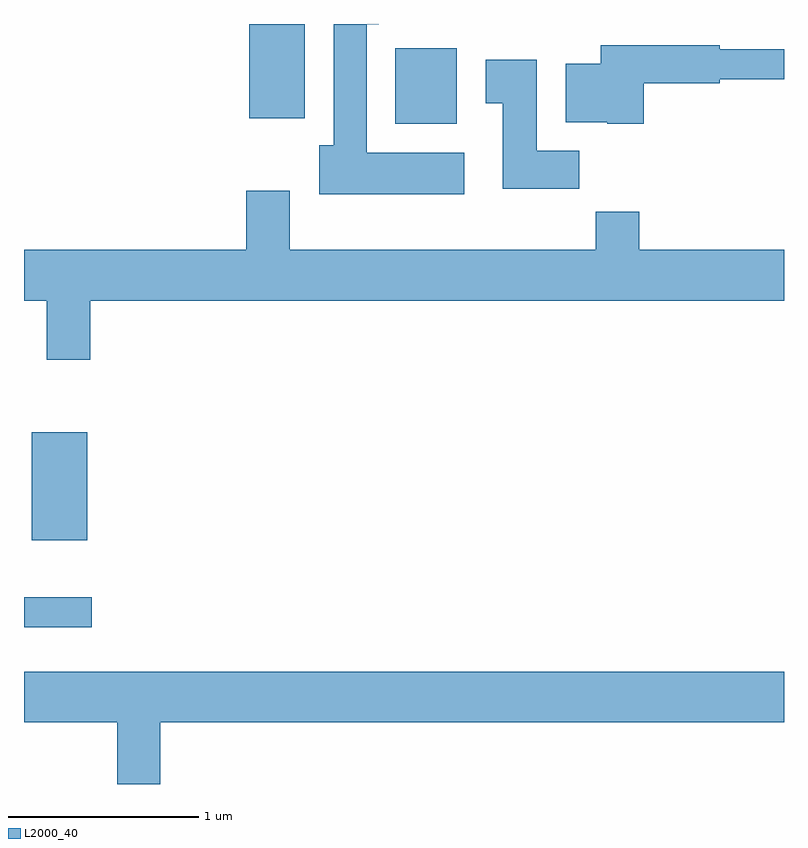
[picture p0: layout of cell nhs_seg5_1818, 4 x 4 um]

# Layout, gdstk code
import gdstk
lib = gdstk.Library(unit=1e-6, precision=1e-09)
def R(c, l, rs):  # rectangles x0, y0, x1, y1
    for r in rs: c.add(gdstk.rectangle(r[:2], r[2:], *l))
def P(c, l, *ps):  # polygons
    for p in ps: c.add(gdstk.Polygon(p, *l))
L2000_40 = (2000, 40)

nhs_seg5_1818 = lib.new_cell('nhs_seg5_1818')
R(nhs_seg5_1818, L2000_40, [(239.611,1412.896,239.968,1413.054), (239.651,1413.356,239.944,1413.924), (241.566,1415.546,241.889,1415.944), (240.796,1415.576,241.089,1416.072)])
P(nhs_seg5_1818, L2000_40, [(241.929,1415.394),(241.414,1415.394),(241.414,1416.071),(241.478,1416.071),(241.478,1416.072),(241.241,1416.072),(241.241,1415.434),(241.166,1415.434),(241.166,1415.176),(241.929,1415.176)],
  [(242.874,1415.761),(243.274,1415.761),(243.274,1415.781),(243.611,1415.781),(243.611,1415.939),(243.274,1415.939),(243.274,1415.959),(242.646,1415.959),(242.646,1415.864),(242.461,1415.864),(242.461,1415.556),(242.68,1415.556),(242.68,1415.546),(242.874,1415.546)],
  [(242.534,1415.404),(242.309,1415.404),(242.309,1415.884),(242.041,1415.884),(242.041,1415.656),(242.131,1415.656),(242.131,1415.206),(242.534,1415.206)],
  [(239.959,1414.616),(243.611,1414.616),(243.611,1414.884),(242.849,1414.884),(242.849,1415.084),(242.621,1415.084),(242.621,1414.884),(241.009,1414.884),(241.009,1415.194),(240.781,1415.194),(240.781,1414.884),(239.611,1414.884),(239.611,1414.616),(239.731,1414.616),(239.731,1414.306),(239.959,1414.306)],
  [(240.329,1412.396),(243.611,1412.396),(243.611,1412.664),(239.611,1412.664),(239.611,1412.396),(240.101,1412.396),(240.101,1412.072),(240.329,1412.072)])

lib.write_gds('nhs_seg5_1818.gds')
